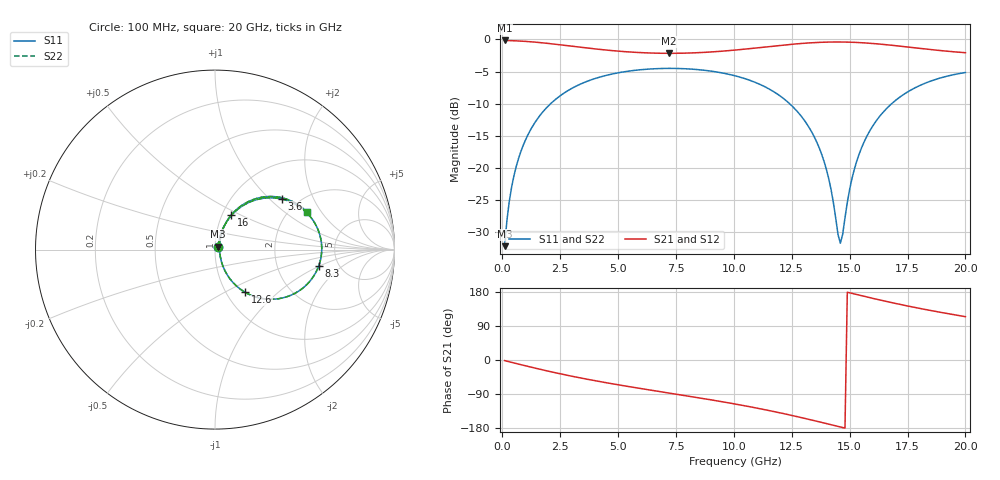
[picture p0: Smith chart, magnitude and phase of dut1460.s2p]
! Touchstone file exported from HFSS 2026.1.0
!  File:  C:/ffzhzh/LocalFiles/Ansys_Project_Files/temp_train_TSV_RDL_1460_1783360260_37376.aedt
!  Generated:  02:02:45 AM Jul  7, 2026
!  Design:  TSV_RDL
!  Project:  temp_train_TSV_RDL_1460_1783360260_37376
! Variables:
!  h_bsmrdl = 3.96um
!  h_ox = 20um
!  h_rdl = 5um
!  h_sub = 84.99um
!  h_tmrdl = 5.06um
!  h_tsv = 84.99um
!  h_via = 3um
!  l_bsmrdl = 252.84um
!  l_sub = 4062.8um
!  l_tmrdl = 696.82um
!  m_sub = 200um
!  pitch = 52.58um
!  r_tsv = 5.49um
!  s_tmrdl = 10um
!  w_bsmrdl = 21.28um
!  w_sub = 500um
!  w_tmrdl = 17.72um
!  x_tsv_center1 = 705.68um
!  x_tsv_center2 = 979.8um
!  x_tsv_center3 = 1694.34um
!  x_tsv_center4 = 1968.46um
!  x_tsv_center5 = 2683um
!  x_tsv_center6 = 2957.12um
# GHz S MA R 50.000000
! Terminal data exported
! Port[1] = TM_RDL1_1_T1
! Port[2] = TM_RDL5_1_T1
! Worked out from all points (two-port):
!   200 points, 100 MHz to 20 GHz, reference 50 ohm
!   highest |S21| = -0.15 dB at 100 MHz (marker M1); lowest = -2.2 dB at 7.2 GHz (marker M2)
!   |S21| within 3 dB of the highest: start of sweep to end of sweep
!   lowest |S11| = -32.3 dB at 100 MHz (marker M3), VSWR 1.05, Z = 51.7 + j1.75 ohm
!   |S11| at or under -10 dB: start of sweep to 2.095 GHz; 12.4 GHz to 16.82 GHz (4.423 GHz wide, 30.3 % of centre)
!   |S22| runs from -32.3 to -4.5 dB; largest |S21 - S12| = 1.7e-14
!   S11 on the Smith chart (normalised r, x): 100 MHz: 1.03, +0.04; 3.6 GHz: 1.65, +1.19; 8.3 GHz: 3.52, -0.98; 12.6 GHz: 1.22, -0.64; 16 GHz: 1.10, +0.44; 20 GHz: 2.45, +1.48
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0.1  0.02431 44.2  0.9829 -1.6  0.9829 -1.6  0.02431 44.2
! Gamma 0 0 0 0
! Port Impedance 50 0 50 0
0.3  0.05418 65.8  0.9806 -4.7  0.9806 -4.7  0.05418 65.8
0.5  0.08576 69.5  0.9777 -7.8  0.9777 -7.8  0.08576 69.5
1.1  0.179 66.8  0.964 -16.8  0.964 -16.8  0.179 66.8
2.1  0.3168 55.0  0.9266 -31.0  0.9266 -31.0  0.3168 55.0
3.5  0.4587 38.3  0.8647 -48.8  0.8647 -48.8  0.4587 38.3
3.6  0.4666 37.1  0.8605 -50.0  0.8605 -50.0  0.4666 37.1
5.2  0.5573 20.3  0.8058 -67.5  0.8058 -67.5  0.5573 20.3
6.8  0.5932 5.0  0.7809 -83.3  0.7809 -83.3  0.5932 5.0
7.2  0.5948 1.3  0.7797 -87.2  0.7797 -87.2  0.5948 1.3
8.3  0.5849 -9.0  0.7867 -97.9  0.7867 -97.9  0.5849 -9.0
10.1  0.518 -26.8  0.8284 -116.6  0.8284 -116.6  0.518 -26.8
11.5  0.4128 -42.1  0.8797 -133.1  0.8797 -133.1  0.4128 -42.1
12.6  0.2919 -54.7  0.9209 -147.6  0.9209 -147.6  0.2919 -54.7
13.4  0.1841 -62.8  0.944 -158.9  0.944 -158.9  0.1841 -62.9
14  0.0963 -64.0  0.954 -167.8  0.954 -167.8  0.09628 -64.1
14.6  0.02564 2.3  0.9562 -176.7  0.9562 -176.7  0.02548 2.2
15.2  0.09636 67.7  0.9501 174.3  0.9501 174.3  0.09629 67.8
16  0.2112 64.8  0.9307 162.7  0.9307 162.7  0.2111 64.9
16.7  0.3015 57.5  0.9062 153.0  0.9062 153.0  0.3015 57.5
18.2  0.4507 40.7  0.8458 134.1  0.8458 134.1  0.4507 40.8
20  0.5525 22.3  0.7885 114.4  0.7885 114.4  0.5524 22.4
